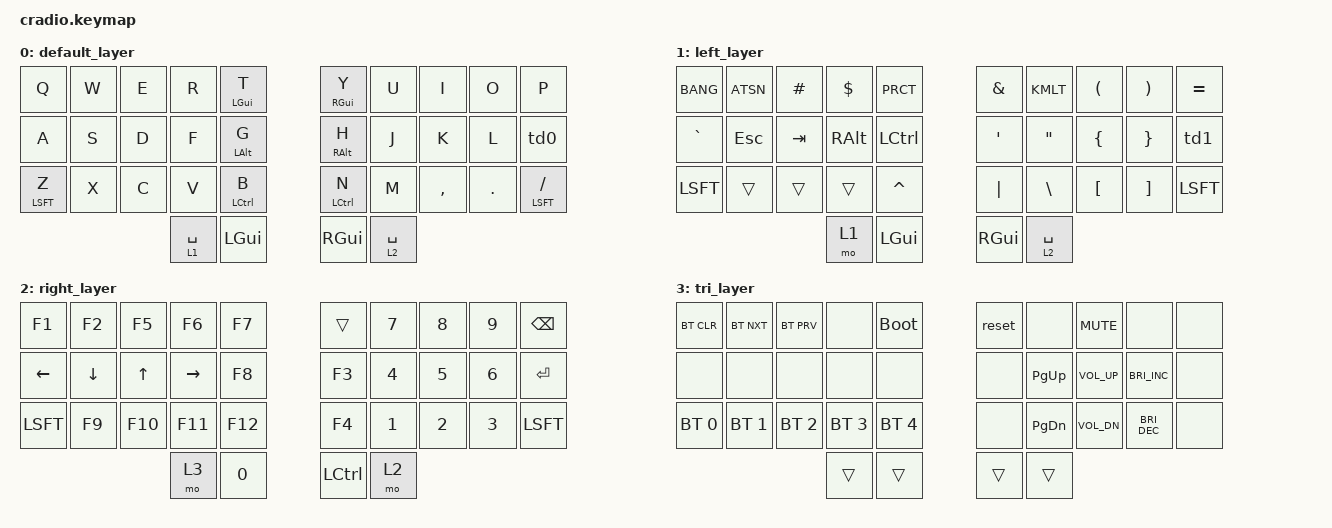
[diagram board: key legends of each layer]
/*
 * Copyright (c) 2020 The ZMK Contributors
 *
 * SPDX-License-Identifier: MIT
 */

#include <behaviors.dtsi>
#include <dt-bindings/zmk/keys.h>
#include <dt-bindings/zmk/bt.h>


&mt {
  //  flavor = "tap-preferred";
   // tapping_term_ms = <200>;
};

/ { 

    combos {
        compatible = "zmk,combos";
        combo_esc {
            timeout-ms = <50>;
            key-positions = <0 1>;
            bindings = <&kp TAB>;
        };
        
        combo_tab {
            timeout-ms = <50>;
            key-positions = <10 11>;
            bindings = <&kp ESC>;
        };
        
        combo_ralt {
            timeout-ms = <50>;
            key-positions = <17 16>;
            bindings = <&kp RALT>;
        };
        
        combo_lalt {
            timeout-ms = <50>;
            key-positions = <11 12>;
            bindings = <&kp LALT>;
        };
        
        combo_lgui {
            timeout-ms = <50>;
            key-positions = <12 13>;
            bindings = <&kp LGUI>;
        };
        
        combo_rgui {
            timeout-ms = <50>;
            key-positions = <17 18>;
            bindings = <&kp RGUI>;
        };
    };

    behaviors {
        td0: tap_dance_0 {
            compatible = "zmk,behavior-tap-dance";
            label = "TAP_DANCE_0";
            #binding-cells = <0>;
            tapping-term-ms = <200>;
            bindings = <&kp SEMI>, <&kp RET>;
        };

        td1: tap_dance_1 {
            compatible = "zmk,behavior-tap-dance";
            label = "TAP_DANCE_1";
            #binding-cells = <0>;
            tapping-term-ms = <200>;
            bindings = <&kp MINUS>, <&kp RET>;
        };
    };

    keymap {
            compatible = "zmk,keymap";
                
       		default_layer {
                bindings = <
                &kp Q &kp W &kp E &kp R &mt LGUI T 						        &mt RGUI Y  &kp U  &kp I  &kp O  &kp P 
                &kp A &kp S &kp D &kp F &mt LALT G 			        	        &mt RALT H  &kp J  &kp K  &kp L  &td0
                &mt LSFT Z &kp X &kp C &kp V &mt LCTL B				            &mt LCTL N  &kp M  &kp CMMA  &kp DOT  &mt LSFT FSLH
                            &lt 1 SPC	&kp LGUI 				                &kp RGUI  &lt 2 SPC 
                >;
                };

                left_layer {
                bindings = <
                &kp BANG  &kp ATSN  &kp HASH  &kp DLLR  &kp PRCT            &kp AMPS  &kp KMLT  &kp LPAR  &kp RPAR  &kp EQL 
                &kp GRAVE  &kp ESC  &kp TAB  &kp RALT  &kp LCTL 		    &kp QUOT  &kp DQT  &kp LBRC  &kp RBRC &td1 
                &kp LSFT  &trans &trans  &trans  &kp CARET 	                &kp PIPE  &kp BSLH  &kp LBKT  &kp RBKT  &kp LSFT 
                                &mo 1    &kp LGUI					        &kp RGUI  &lt 2 SPC  
                >;
                };
                
                right_layer {
                bindings = <
                &kp F1  &kp F2 &kp F5  &kp F6  &kp F7    			        &trans &kp NUM_7  &kp NUM_8  &kp NUM_9  &kp BKSP  
                &kp LEFT  &kp DOWN  &kp UP  &kp RIGHT  &kp F8 			    &kp F3  &kp NUM_4  &kp NUM_5  &kp NUM_6  &kp RET
                &kp LSFT  &kp F9 &kp F10 &kp F11  &kp F12    			    &kp F4  &kp NUM_1  &kp NUM_2  &kp NUM_3  &kp LSFT
                            &mo 3  &kp NUM_0  				            &kp LCTL   &mo 2 
                >;
                };	
                
                tri_layer {
                bindings = <
                &bt BT_CLR  &bt BT_NXT  &bt BT_PRV  &none  &bootloader 			        &reset  &none   &kp K_MUTE   &none  &none
                &none  &none  &none  &none  &none  						                &none  &kp PG_UP  &kp C_VOL_UP  &kp C_BRI_INC  &none 
                &bt BT_SEL 0 &bt BT_SEL 1 &bt BT_SEL 2  &bt BT_SEL 3  &bt BT_SEL 4 	    &none  &kp PG_DN  &kp C_VOL_DN  &kp C_BRI_DEC  &none   
                &trans &trans  					                                        &trans  &trans 
                >;
        };	
	};
};
